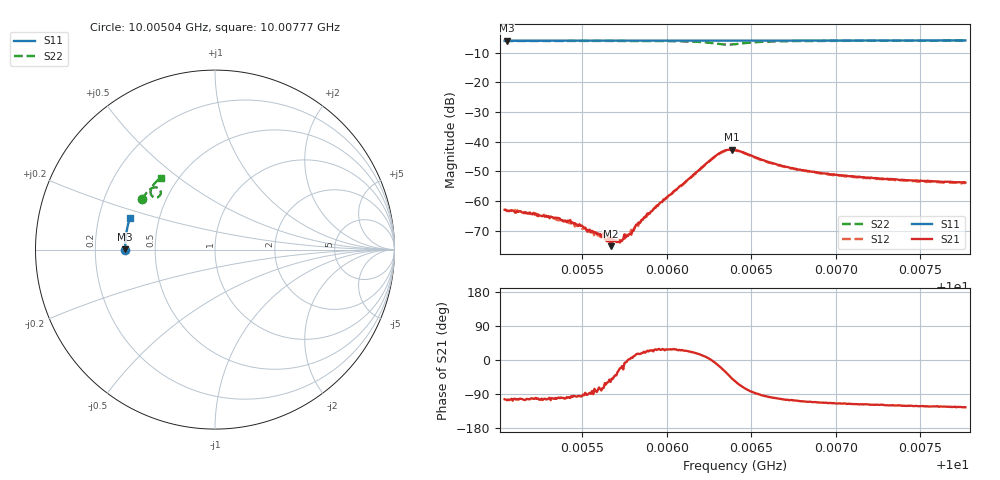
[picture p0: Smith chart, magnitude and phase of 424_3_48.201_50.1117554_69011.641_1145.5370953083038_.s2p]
#  HZ  S  RI  R  50.00
! Rohde & Schwarz Vector Network Analyzer
! Rohde-Schwarz,ZNB20-2Port,1311601062101988,3.16
! Created: UTC 3/20/2024, 11:55:04 AM
! freq[Hz]  re:S11  im:S11  re:S21  im:S21  re:S12  im:S12  re:S22  im:S22
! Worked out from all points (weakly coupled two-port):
!   401 points, 10.00504 GHz to 10.00777 GHz, reference 50 ohm
!   highest |S21| = -42.66 dB at 10.00638 GHz (marker M1); lowest = -75.2 dB at 10.00567 GHz (marker M2)
!   lowest |S11| = -6.0 dB at 10.00505 GHz (marker M3), VSWR 3.00, Z = 16.7 + j0.0449 ohm
!   |S11| at or under -10 dB: nowhere
!   |S22| runs from -7.3 to -6.0 dB; largest |S21 - S12| = 0.00047
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1.0005041e10  -0.4999 0.000168  -0.000168 -0.000691  -0.00014 -0.000705  -0.408 0.2798
1.0005055e10  -0.4998 0.00101  -0.000193 -0.000663  -0.000129 -0.000665  -0.4074 0.2806
1.0005307e10  -0.5001 0.0175  -8.61e-05 -0.000506  -0.000106 -0.000518  -0.3976 0.2955
1.000543e10  -0.5001 0.0255  -8.54e-05 -0.00047  -3.46e-05 -0.00042  -0.3926 0.3029
1.0005498e10  -0.5 0.03  -4.06e-05 -0.000384  2.16e-05 -0.000346  -0.3896 0.307
1.0005539e10  -0.4999 0.0325  8.24e-06 -0.000328  2.02e-05 -0.000331  -0.3875 0.3094
1.0005614e10  -0.4996 0.0374  4.18e-05 -0.000247  6.82e-05 -0.000236  -0.384 0.3141
1.0005655e10  -0.4994 0.0399  0.000121 -0.000194  0.000139 -0.000195  -0.3818 0.3165
1.0005668e10  -0.4994 0.0409  9.27e-05 -0.000147  0.000103 -0.000162  -0.3812 0.3175
1.0005716e10  -0.4994 0.0442  0.000182 -9.54e-05  0.000196 -0.000107  -0.3786 0.3203
1.0005736e10  -0.4992 0.0454  0.000206 -5.87e-05  0.000201 -6.61e-05  -0.3776 0.3217
1.0005791e10  -0.499 0.0489  0.00027 2.88e-05  0.000325 3.58e-05  -0.3742 0.3251
1.0005825e10  -0.4987 0.0512  0.00038 0.000111  0.000357 0.00012  -0.372 0.3273
1.0005954e10  -0.4982 0.0595  0.000772 0.000436  0.000743 0.000448  -0.3624 0.3359
1.0006288e10  -0.4952 0.0808  0.00569 -0.000777  0.0056 -0.000444  -0.3049 0.33
1.0006336e10  -0.4947 0.0838  0.00622 -0.00307  0.00621 -0.00273  -0.3031 0.309
1.0006384e10  -0.4943 0.0867  0.00493 -0.00546  0.00513 -0.00504  -0.3179 0.2923
1.0006404e10  -0.4943 0.0879  0.00407 -0.00599  0.0043 -0.00567  -0.327 0.2897
1.0006643e10  -0.4923 0.103  -0.000767 -0.00415  -0.000551 -0.00408  -0.3585 0.3295
1.0006861e10  -0.4897 0.1172  -0.00112 -0.00289  -0.00098 -0.00292  -0.3491 0.3518
1.0007318e10  -0.483 0.1457  -0.00115 -0.00205  -0.00102 -0.00204  -0.3257 0.38
1.0007768e10  -0.4747 0.1733  -0.00116 -0.00169  -0.00103 -0.00171  -0.303 0.4014
